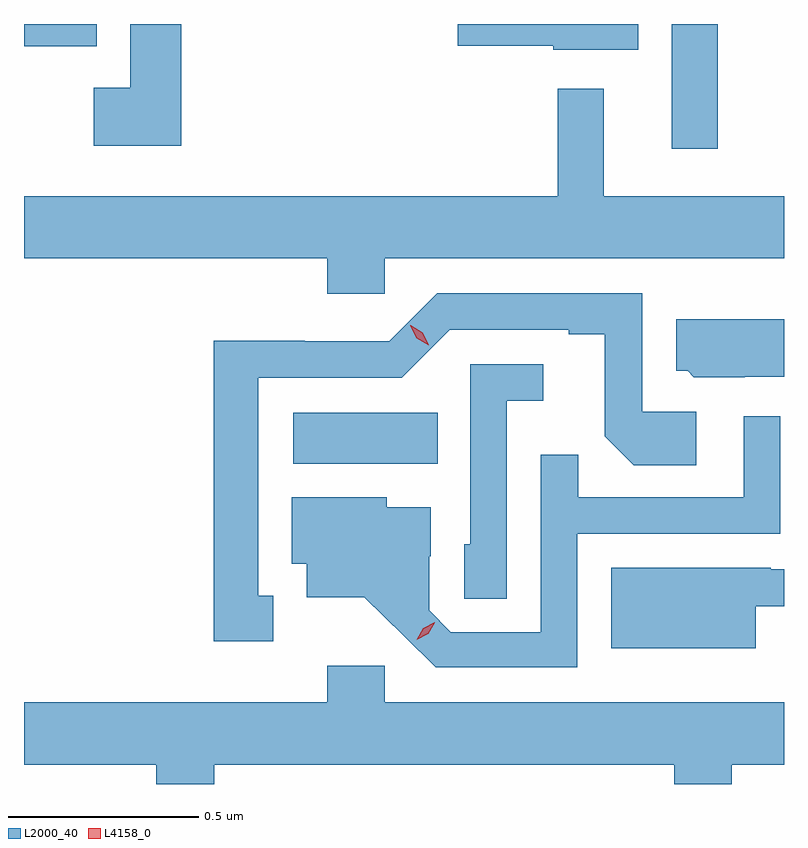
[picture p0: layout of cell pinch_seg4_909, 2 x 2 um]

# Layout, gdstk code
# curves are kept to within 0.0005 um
import gdstk
lib = gdstk.Library(unit=1e-6, precision=1e-09)
def R(c, l, rs):  # rectangles x0, y0, x1, y1
    for r in rs: c.add(gdstk.rectangle(r[:2], r[2:], *l))
def P(c, l, *ps):  # polygons
    for p in ps: c.add(gdstk.Polygon(p, *l))
L2000_40 = (2000, 40)
L4158_0 = (4158, 0)

pinch_seg4_909 = lib.new_cell('pinch_seg4_909')
R(pinch_seg4_909, L2000_40, [(730.116,829.58,730.496,829.714), (731.111,830.409,731.233,830.737), (729.407,830.678,729.598,830.737)])
P(pinch_seg4_909, L2000_40, [(731.023,830.737),(730.548,830.737),(730.548,830.68),(730.8,830.68),(730.8,830.669),(731.023,830.669)],
  [(729.821,830.737),(729.686,830.737),(729.686,830.569),(729.591,830.569),(729.591,830.417),(729.821,830.417)],
  [(730.356,830.12),(731.407,830.12),(731.407,830.284),(730.933,830.284),(730.933,830.566),(730.812,830.566),(730.812,830.284),(729.407,830.284),(729.407,830.12),(730.205,830.12),(730.205,830.027),(730.356,830.027)],
  [(730.063,829.233),(730.024,829.233),(730.024,829.806),(730.401,829.806),(730.527,829.932),(730.841,829.932),(730.841,829.92),(730.935,829.92),(730.935,829.652),(731.011,829.576),(731.176,829.576),(731.176,829.716),(731.034,829.716),(731.034,830.028),(730.494,830.028),(730.368,829.902),(730.146,829.902),(730.146,829.904),(729.906,829.904),(729.906,829.113),(730.063,829.113)],
  [(731.304,829.809),(731.407,829.809),(731.407,829.96),(731.123,829.96),(731.123,829.824),(731.154,829.824),(731.17,829.808),(731.304,829.808)],
  [(730.677,829.745),(730.774,829.745),(730.774,829.842),(730.581,829.842),(730.581,829.368),(730.566,829.368),(730.566,829.225),(730.677,829.225)],
  [(730.863,829.395),(731.397,829.395),(731.397,829.705),(731.301,829.705),(731.301,829.491),(730.865,829.491),(730.865,829.604),(730.767,829.604),(730.767,829.137),(730.53,829.137),(730.473,829.194),(730.473,829.336),(730.477,829.336),(730.477,829.465),(730.362,829.465),(730.362,829.492),(730.112,829.492),(730.112,829.316),(730.151,829.316),(730.151,829.229),(730.303,829.229),(730.49,829.044),(730.863,829.044)],
  [(731.332,829.205),(731.407,829.205),(731.407,829.302),(731.372,829.302),(731.372,829.306),(730.952,829.306),(730.952,829.094),(731.332,829.094)],
  [(729.908,828.788),(731.118,828.788),(731.118,828.737),(731.27,828.737),(731.27,828.788),(731.407,828.788),(731.407,828.952),(730.356,828.952),(730.356,829.048),(730.205,829.048),(730.205,828.952),(729.407,828.952),(729.407,828.788),(729.755,828.788),(729.755,828.737),(729.908,828.737)])
P(pinch_seg4_909, L4158_0, [(730.44,829.117),(730.44,829.117),(730.457,829.147),(730.488,829.163),(730.488,829.163),(730.488,829.162),(730.471,829.133),(730.441,829.117)],
  [(730.472,829.891),(730.441,829.91),(730.424,829.943),(730.424,829.944),(730.425,829.944),(730.456,829.924),(730.472,829.891),(730.472,829.891)])

lib.write_gds('pinch_seg4_909.gds')
